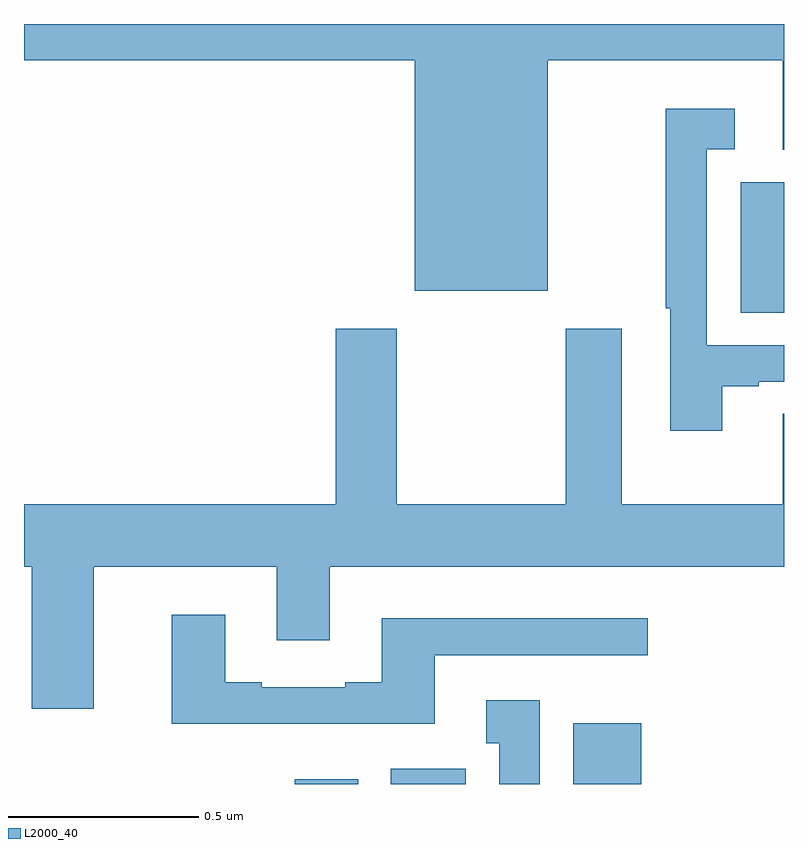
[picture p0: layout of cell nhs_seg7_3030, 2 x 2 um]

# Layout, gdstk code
import gdstk
lib = gdstk.Library(unit=1e-6, precision=1e-09)
def R(c, l, rs):  # rectangles x0, y0, x1, y1
    for r in rs: c.add(gdstk.rectangle(r[:2], r[2:], *l))
def P(c, l, *ps):  # polygons
    for p in ps: c.add(gdstk.Polygon(p, *l))
L2000_40 = (2000, 40)

nhs_seg7_3030 = lib.new_cell('nhs_seg7_3030')
R(nhs_seg7_3030, L2000_40, [(153.713,1044,153.88,1044.013), (153.965,1044,154.162,1044.04), (154.445,1044,154.624,1044.16), (154.886,1045.24,155,1045.584)])
P(nhs_seg7_3030, L2000_40, [(154.378,1045.904),(154.997,1045.904),(154.997,1045.669),(155,1045.669),(155,1046),(153,1046),(153,1045.904),(154.028,1045.904),(154.028,1045.298),(154.378,1045.298)],
  [(154.837,1045.047),(154.933,1045.047),(154.933,1045.059),(155,1045.059),(155,1045.155),(154.797,1045.155),(154.797,1045.671),(154.87,1045.671),(154.87,1045.777),(154.689,1045.777),(154.689,1045.252),(154.701,1045.252),(154.701,1044.93),(154.837,1044.93)],
  [(153.184,1044.572),(153.665,1044.572),(153.665,1044.378),(153.805,1044.378),(153.805,1044.572),(155,1044.572),(155,1044.974),(154.997,1044.974),(154.997,1044.736),(154.573,1044.736),(154.573,1045.198),(154.426,1045.198),(154.426,1044.736),(153.981,1044.736),(153.981,1045.198),(153.821,1045.198),(153.821,1044.736),(153,1044.736),(153,1044.572),(153.02,1044.572),(153.02,1044.198),(153.184,1044.198)],
  [(154.081,1044.339),(154.642,1044.339),(154.642,1044.436),(153.941,1044.436),(153.941,1044.268),(153.845,1044.268),(153.845,1044.255),(153.625,1044.255),(153.625,1044.268),(153.529,1044.268),(153.529,1044.445),(153.389,1044.445),(153.389,1044.158),(154.081,1044.158)],
  [(154.357,1044.22),(154.217,1044.22),(154.217,1044.107),(154.25,1044.107),(154.25,1044),(154.357,1044)])

lib.write_gds('nhs_seg7_3030.gds')
